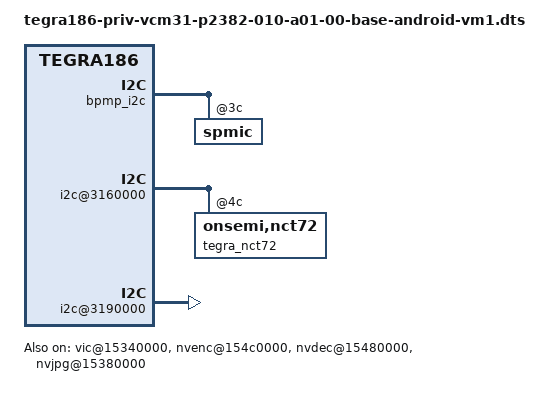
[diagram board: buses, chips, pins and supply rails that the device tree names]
/*
 * tegra186-priv-vcm31-p2382-010-a01-00-base-vm1.dts: P2382(sunstreaker) base vm1 dts
 * file
 *
 * Copyright (c) 2016, NVIDIA CORPORATION.  All rights reserved.
 *
 * This program is free software; you can redistribute it and/or modify
 * it under the terms of the GNU General Public License as published by
 * the Free Software Foundation; version 2 of the License.
 *
 * This program is distributed in the hope that it will be useful, but WITHOUT
 * ANY WARRANTY; without even the implied warranty of MERCHANTABILITY or
 * FITNESS FOR A PARTICULAR PURPOSE.  See the GNU General Public License for
 * more details.
 */

#include "tegra186-platforms/tegra186-vcm31-p2382-common.dtsi"
#include "tegra186-platforms/tegra186-vcm31-camera-ccplex.dtsi"

/ {
	nvidia,dtsfilename = __FILE__;
	nvidia,boardids = "p2382:0010:A01";
	nvidia,proc-boardid = "p2382:0010:A01";

	tegra_hv: hyp {
		compatible = "nvidia,tegra-hv";
		status = "okay";
	};

	chosen {
		nvidia,tegra-hypervisor-mode;
	};

	reserved-memory {
		ivm0: carveout0 {
			status = "okay";
			compatible = "nvidia,ivm_carveout";
			reg = <0x0 0x70c00000 0x0 0x04c00000>;
			ivm = <&tegra_hv 0>;
			alloc = <1>;
			no-map;
		};
	};

	tegra-carveouts {
		status = "okay";
		memory-region = <&ivm0>;
	};


	spi@3270000 {
		status = "disabled";
	};

	spi@c260000 {
		status = "disabled";
	};

	bpmp {
		compatible = "nvidia,tegra186-bpmp-hv";
		ivc_queue = <&tegra_hv 0 14>;
		mempool = <4>;

		bpmpthermal {
			status = "okay";
		};
	};

	bpmp_i2c {
                spmic: spmic@3c {
			/delete-property/ maxim,device-state-on-disabled-event;
			/delete-node/ backup-battery;
			/delete-node/ fps;
			pinmux@0 {
				/delete-node/ pin_gpio2;
				/delete-node/ pin_gpio3;
			};
			regulators {
				/delete-node/ sd0;
				/delete-node/ sd1;
				/delete-node/ sd2;
				/delete-node/ sd3;
				/delete-node/ sd4;
				/delete-node/ ldo0;
				/delete-node/ ldo1;
				/delete-node/ ldo2;
				/delete-node/ ldo4;
				/delete-node/ ldo6;
				/delete-node/ ldo7;
				/delete-node/ ldo8;
			};
		};
	};

	aon@c160000 {
		status = "disabled";
	};

	cpuidle {
		compatible = "nvidia,tegra18x-cpuidle";
		status = "disabled";
	};

	mailbox@3538000 {
		status = "disabled";
	};

	xhci@3530000 {
		status = "disabled";
	};

	sdhci@3400000 { /* Used for SDCard */
		/delete-property/ vddio_sdmmc-supply;
		/delete-property/ vddio_sd_slot-supply;
		status = "disabled";
	};

	/delete-node/ pmc-iopower;

	i2c@3160000 {
		compatible = "nvidia,tegra186-i2c-hv";
		ivc_queue = <&tegra_hv 53>;
		tegra_nct72: onsemi,nct72@4c {
			status = "okay";
			/delete-property/ interrupt-parent;
			/delete-property/ interrupts;
			/delete-property/ temp-alert-gpio;
		};
	};

	/* Tegra I2C4 - VCM DP_AUX1, HDMI DDC,
	   HDMI/MHL,CVBS TO CSI,
	   P2583 Cam AIC_2 */
	i2c@3190000 {
		compatible = "nvidia,tegra186-i2c-hv";
		ivc_queue = <&tegra_hv 53>;
	};

	/* Tegra I2C6 - VCM DP_AUX0, DP DDC/EDP AUX */
	i2c@31b0000 {
		status = "disabled";
	};

	tegra_hv_net@0 {
		compatible = "nvidia,tegra-hv-net";
		status = "okay";
		ivc = <&tegra_hv 28>;
	};

	tegra_hv_net@1 {
		compatible = "nvidia,tegra-hv-net";
		status = "okay";
		ivc = <&tegra_hv 58>;
	};

	tegra_hv_wdt {
		compatible = "nvidia,tegra-hv-wdt";
		status = "okay";
		ivc = <&tegra_hv 51>;
	};

	mc_sid@2c00000 {
		nvidia,by-pass-smmu-streamid = <0x7e>;
		status = "okay";
	};

	pmc@c370000 {
		status = "disabled";
	};

	power-domain {
		host-pd {
			compatible = "nvidia,tegra186-host1x-pd-hv";
		};
	};

	xudc@3550000 {
		status = "disabled";
	};

	pinctrl@3520000 {
		status = "disabled";
	};

	ahci-sata@3507000 {
		status = "disabled";
	};

	pcie-controller@10003000 {
		status = "disabled";

		pci@1,0 {
			status = "disabled";
		};

		pci@2,0 {
			status = "disabled";
		};

		pci@3,0 {
			status = "disabled";
		};

	};

	host1x: host1x {
		compatible = "nvidia,tegra186-host1x-hv", "simple-bus";
		reg = <0x0 0x13e10000 0x0 0x00010000>;
		interrupts = <0 265 0x04
					0 263 0x04>;
		nvidia,vmid = <1>;

		nvidia,ch-base = <0>;
		nvidia,nb-channels = <28>;

		nvidia,nb-hw-pts = <576>;
		nvidia,pts-base = <0>;
		nvidia,nb-pts = <284>;

		vmserver-owns-engines = <1>;

		ivc-queue0 = <&tegra_hv 43>;

		vic@15340000 {
			compatible = "nvidia,tegra186-vhost-vic";
			status = "okay";
		};

		nvenc@154c0000 {
			compatible = "nvidia,tegra186-vhost-nvenc";
			status = "okay";
		};

		nvdec@15480000 {
			compatible = "nvidia,tegra186-vhost-nvdec";
			status = "okay";
		};

		nvjpg@15380000 {
			compatible = "nvidia,tegra186-vhost-nvjpg";
			status = "okay";
		};

		host1x_ctx0: ctx0 {
			 status = "okay";
		};

		host1x_ctx1: ctx1 {
			 status = "okay";
		};

		host1x_ctx2: ctx2 {
			 status = "okay";
		};

		host1x_ctx3: ctx3 {
			 status = "okay";
		};

		ctx4 {
			status = "disabled";
		};

		ctx5 {
			status = "disabled";
		};

		ctx6 {
			status = "disabled";
		};

		ctx7 {
			status = "disabled";
		};

		nvdisplay@15200000 {
			status = "disabled";
		};

		nvdisplay@15210000 {
			status = "disabled";
		};

		nvdisplay@15220000 {
			status = "disabled";
		};

		dsi {
			status = "disabled";
		};

		sor {
			status = "disabled";
		};

		sor1 {
			status = "disabled";
		};

		dpaux@155c0000 {
			status = "disabled";
		};

		dpaux@15040000 {
			status = "disabled";
		};

		se@15810000 {
			status = "disabled";
		};

		se@15820000 {
			status = "disabled";
		};

		se@15830000 {
			status = "disabled";
		};

		se@15840000 {
			status = "disabled";
		};

	};

	generic-system-config {
		status = "dislabled";
	};

	dma@2600000 {
		dma-channels = <16>;
		nvidia,start-dma-channel-index = <0>;
		nvidia,stream-id = <TEGRA_SID_GPCDMA_0>;
		status = "okay";
	};

	intc: interrupt-controller@3881000 {
		reg = <0x0 0x03881000 0x0 0x00001000
		       0x0 0x03892000 0x0 0x00002000>;
	};

	gp10b {
		status = "disabled";
	};

	vgpu {
		compatible = "nvidia,tegra186-gp10b-vgpu", "nvidia,tegra124-gk20a-vgpu";
		reg = <0x0 0x18000000 0x0 0x1000000>;
		nvidia,host1x = <&host1x>;
		ivc-queue3 = <&tegra_hv 45>;
		ivc-queue4 = <&tegra_hv 46>;
		mempool3 = <&tegra_hv 1>;
	};

	thermal-zones {
		Tboard_tegra {
			status = "disabled";
		};

		Tdiode_tegra {
			status = "disabled";
		};
	};
	sound {
		status = "disabled";
	};

	sound_ref {
		status = "disabled";
	};

	ahub {
		status = "disabled";
	};

        adsp_audio {
                status = "disabled";
        };

        adsp@2993000 {
                status = "disabled";
        };

	ptm_a57_0: ptm@9840000 {
		status = "disabled";
	};

	ptm_a57_1: ptm@9940000 {
		status = "disabled";
	};

	ptm_a57_2: ptm@9a40000 {
		status = "disabled";
	};

	ptm_a57_3: ptm@9b40000 {
		status = "disabled";
	};

	funnel_bccplex@9010000 {
		status = "disabled";
	};

	funnel_major@8010000 {
		status = "disabled";
	};

	replicator@0x8040000 {
		status = "disabled";
	};

	etf@8030000 {
		status = "disabled";
	};

	tpiu@8060000 {
		status = "disabled";
	};

	watchdog@30c0000 {
		status = "disabled";
	};

	watchdog@30c0000 {
		status = "disabled";
	};

	timer@3020000 {
		status = "disabled";
	};

	rtc@c2a0000 {
		status = "disabled";
	};

	iommu@12000000{

		mmu-masters = <&host1x				TEGRA_SID_HC
								TEGRA_SID_HC_VM0
								TEGRA_SID_HC_VM1
								TEGRA_SID_HC_VM2
								TEGRA_SID_HC_VM3
								TEGRA_SID_HC_VM4
								TEGRA_SID_HC_VM5
								TEGRA_SID_HC_VM6
								TEGRA_SID_HC_VM7>,
			      <&{/host1x/nvcsi@150c0000}	TEGRA_SID_NVCSI>,
			      <&{/host1x/vic@15340000}		TEGRA_SID_VIC>,
			      <&{/host1x/vi@15700000}		TEGRA_SID_VI>,
			      <&{/host1x/isp@15600000}		TEGRA_SID_ISP>,
			      <&{/host1x/nvdec@15480000}	TEGRA_SID_NVDEC>,
			      <&{/host1x/nvenc@154c0000}	TEGRA_SID_NVENC>,
			      <&{/host1x/nvjpg@15380000}	TEGRA_SID_NVJPG>,
			      <&{/host1x/nvdisplay@15200000}	TEGRA_SID_NVDISPLAY>,
			      <&{/host1x/nvdisplay@15210000}	TEGRA_SID_NVDISPLAY>,
			      <&{/host1x/nvdisplay@15220000}	TEGRA_SID_NVDISPLAY>,
			      <&{/host1x/tsec@15500000}		TEGRA_SID_TSEC>,
			      <&{/host1x/tsecb@15100000}	TEGRA_SID_TSECB>,
			      <&{/host1x/se@15810000}		TEGRA_SID_SE>,
			      <&{/host1x/se@15820000}		TEGRA_SID_SE1>,
			      <&{/host1x/se@15830000}		TEGRA_SID_SE2>,
			      <&{/host1x/se@15840000}		TEGRA_SID_SE3>,
			      <&{/smmu_test}			TEGRA_SID_SMMU_TEST>,
			      <&{/gp10b}			TEGRA_SID_GPUB>,
			      <&host1x_ctx0			TEGRA_SID_HOST1X_CTX0>,
			      <&host1x_ctx1			TEGRA_SID_HOST1X_CTX1>,
			      <&host1x_ctx2			TEGRA_SID_HOST1X_CTX2>,
			      <&host1x_ctx3			TEGRA_SID_HOST1X_CTX3>,
			      <&host1x_ctx4			TEGRA_SID_HOST1X_CTX4>,
			      <&host1x_ctx5			TEGRA_SID_HOST1X_CTX5>,
			      <&host1x_ctx6			TEGRA_SID_HOST1X_CTX6>,
			      <&host1x_ctx7			TEGRA_SID_HOST1X_CTX7>,

			      /* Non-host devices. */
			      <&{/adsp@2993000}		TEGRA_SID_APE>,
			      <&{/ether_qos@2490000}	TEGRA_SID_EQOS>,
			      <&{/sdhci@3460000}	TEGRA_SID_SDMMC4A>,
			      <&{/sdhci@3440000}	TEGRA_SID_SDMMC3A>,
			      <&{/sdhci@3420000}	TEGRA_SID_SDMMC2A>,
			      <&{/sdhci@3400000}	TEGRA_SID_SDMMC1A>,
			      <&{/ufshci@2450000}	TEGRA_SID_UFSHC>,
			      <&{/xhci@3530000}		TEGRA_SID_XUSB_HOST>,
			      <&{/xudc@3550000}		TEGRA_SID_XUSB_DEV>,
			      <&{/hda@3510000}		TEGRA_SID_HDA>,
			      <&tegra_adsp_audio	TEGRA_SID_APE>,
			      <&{/sound}		TEGRA_SID_APE>,
			      <&{/sound_ref}		TEGRA_SID_APE>,
			      <&{/virt-alt-pcm}		TEGRA_SID_APE>,
			      <&{/pcie-controller@10003000} TEGRA_SID_AFI>,
			      <&{/ahci-sata@3507000}	TEGRA_SID_SATA2>,
			      <&{/aon@c160000}		TEGRA_SID_AON>,
			      <&{/rtcpu@b000000}	TEGRA_SID_SCE>,
			      <&{/dma@2600000}		TEGRA_SID_GPCDMA_0>,
			      <&{/spi@3210000}		TEGRA_SID_GPCDMA_0>,
			      <&{/spi@3230000}		TEGRA_SID_GPCDMA_0>,
			      <&{/spi@3240000}		TEGRA_SID_GPCDMA_0>,
			      <&{/spi@3270000}		TEGRA_SID_GPCDMA_0>,
			      <&{/spi@c260000}		TEGRA_SID_GPCDMA_0>,
			      <&{/serial@3100000}	TEGRA_SID_GPCDMA_0>,
			      <&{/serial@3110000}	TEGRA_SID_GPCDMA_0>,
			      <&{/serial@c280000}	TEGRA_SID_GPCDMA_0>,
			      <&{/serial@3130000}	TEGRA_SID_GPCDMA_0>,
			      <&{/serial@3140000}	TEGRA_SID_GPCDMA_0>,
			      <&{/serial@3150000}	TEGRA_SID_GPCDMA_0>,
			      <&{/serial@c290000}	TEGRA_SID_GPCDMA_0>,
			      <&{/i2c@3160000}		TEGRA_SID_GPCDMA_0>,
			      <&{/i2c@c240000}		TEGRA_SID_GPCDMA_0>,
			      <&{/i2c@3180000}		TEGRA_SID_GPCDMA_0>,
			      <&{/i2c@3190000}		TEGRA_SID_GPCDMA_0>,
			      <&{/i2c@31b0000}		TEGRA_SID_GPCDMA_0>,
			      <&{/i2c@31c0000}		TEGRA_SID_GPCDMA_0>,
			      <&{/i2c@c250000}		TEGRA_SID_GPCDMA_0>,
			      <&{/i2c@31e0000}		TEGRA_SID_GPCDMA_0>,
			      <&{/vse@15810000}		TEGRA_SID_SE_VM0>,
			      <&{/vse@15820000}		TEGRA_SID_SE_VM0>,
			      <&{/vse@15830000}		TEGRA_SID_SE_VM0>,
			      <&{/vse@15840000}		TEGRA_SID_SE_VM0>;

		domains {
			vse_domain {
				address-space = <&common_as>;
				sid-list = <TEGRA_SID_SE_VM0>;
				sid-list-len = <1>;
			};
		};

		address-space-prop {
			ape_as: ape {
				iova-start = <0x0 0x80000000>;
				iova-size = <0x0 0x20000000>;
				alignment = <0xFFFFF>;
				num-pf-page = <0>;
				gap-page = <1>;
			};
		};
	};

	ahci-sata@3507000 {
		status = "disabled";
	};
	adma: adma@2930000 {
		compatible = "nvidia,tegra210-adma-hv";
		dma-channels = <4>;
		adma-page = <1>;
		power-domains = <>;
	};

	virt-alt-pcm {
		status = "okay";
		compatible = "nvidia,tegra210-virt-pcm";
		#stream-id-cells = <1>;
		power-domains = <&ape_pd>;
		wakeup-disable;
		cardname = "tegra-virt-pcm-vm1";
		codec = <&spdif_dit0>;
		dmas = <&adma 1>, <&adma 1>, <&adma 2>, <&adma 2>,
			<&adma 3>, <&adma 3>, <&adma 4>, <&adma 4>;
		dma-names = "rx1", "tx1", "rx2", "tx2",
			"rx3", "tx3", "rx4", "tx4";
		ivc_queue = <&tegra_hv 56>;
		admaif_ch_num = <4>;
		admaif_ch_list = <1>, <2>, <3>, <4>;
        };

	cpufreq@e070000 {
		nvidia,debugfs-only;
	};

        /delete-node/ axi2apb@2390000;
        /delete-node/ axi2apb@23a0000;
        /delete-node/ axi2apb@23b0000;
        /delete-node/ axi2apb@23c0000;
        /delete-node/ axi2apb@23d0000;
        /delete-node/ axip2p@2100000;
        /delete-node/ axip2p@2110000;
        /delete-node/ axip2p@2120000;
        /delete-node/ axip2p@2130000;
        /delete-node/ axip2p@2140000;
        /delete-node/ axip2p@2150000;
        /delete-node/ axip2p@2160000;
        /delete-node/ axip2p@2170000;
        /delete-node/ axip2p@2180000;
        /delete-node/ axip2p@2190000;

	gpio-keys {
		status = "disabled";
	};

	vse@15810000 {
		compatible = "nvidia,tegra186-hv-vse";
		#stream-id-cells = <1>;
		ivc = <76>;
		se-engine-id = <0>;
	};

	vse@15820000 {
		compatible = "nvidia,tegra186-hv-vse";
		#stream-id-cells = <1>;
		ivc = <76>;
		se-engine-id = <1>;
	};

	vse@15830000 {
		compatible = "nvidia,tegra186-hv-vse";
		#stream-id-cells = <1>;
		ivc = <76>;
		se-engine-id = <2>;
	};

	vse@15840000 {
		compatible = "nvidia,tegra186-hv-vse";
		#stream-id-cells = <1>;
		ivc = <76>;
		se-engine-id = <3>;
	};
};
